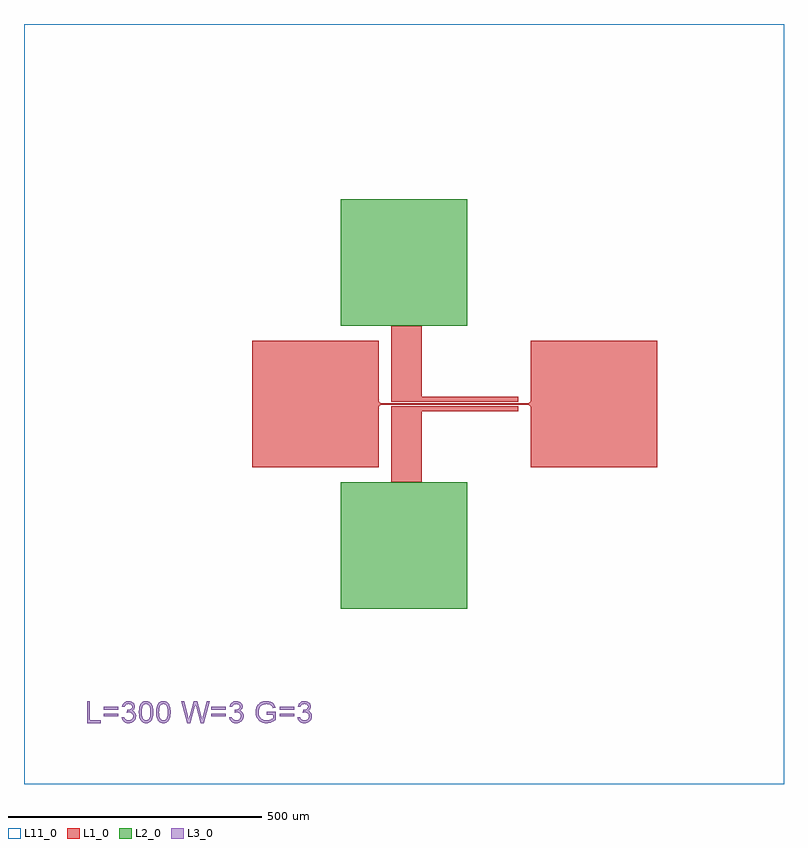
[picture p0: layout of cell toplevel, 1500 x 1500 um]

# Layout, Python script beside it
from phidl import Device
import phidl.geometry as pg


##########################################
# Layers:
# 1 = device silicon / structural geometry
# 2 = optional contact blocks
# 3 = labels
# 11 = optional outline / visualization
##########################################


class EmptyClass:
    pass


def make_fillet_pieces(f_r, layer=1):
    """Create the four inside-corner fillet pieces from the provided template."""
    D1 = pg.circle(radius=f_r, layer=layer).move([f_r, f_r])

    D2 = pg.rectangle(size=[f_r, f_r], layer=layer)
    F_tr = pg.boolean(
        A=D2, B=D1, operation="not", precision=1e-6, num_divisions=[1, 1], layer=layer
    )

    D2 = pg.rectangle(size=[f_r, f_r], layer=layer).move([f_r, 0])
    F_tl = pg.boolean(
        A=D2, B=D1, operation="not", precision=1e-6, num_divisions=[1, 1], layer=layer
    )
    F_tl.move([-2 * f_r, 0])

    D2 = pg.rectangle(size=[f_r, f_r], layer=layer).move([f_r, f_r])
    F_bl = pg.boolean(
        A=D2, B=D1, operation="not", precision=1e-6, num_divisions=[1, 1], layer=layer
    )
    F_bl.move([-2 * f_r, -2 * f_r])

    D2 = pg.rectangle(size=[f_r, f_r], layer=layer).move([0, f_r])
    F_br = pg.boolean(
        A=D2, B=D1, operation="not", precision=1e-6, num_divisions=[1, 1], layer=layer
    )
    F_br.move([0, -2 * f_r])

    return {"tr": F_tr, "tl": F_tl, "bl": F_bl, "br": F_br}


def reference_left_anchor_x(mc, beam_length):
    return mc.center_x - (beam_length / 2 + mc.anchor_width)


def beam_center_x(mc, left_anchor_x, beam_length):
    return left_anchor_x + mc.anchor_width + beam_length / 2


def outline(mc):
    """Optional unit-cell outline for visualization."""
    cell_outline = Device("outline")
    cell_outline << pg.rectangle(size=(mc.unit_width, mc.unit_height), layer=11)
    return cell_outline


def make_anchor(mc):
    anchor = Device("anchor")
    anchor << pg.rectangle(size=(mc.anchor_width, mc.anchor_height), layer=1)
    return anchor


def make_beam(mc, L, W):
    beam = Device("beam")
    beam << pg.rectangle(size=(L, W), layer=1)
    return beam


def make_electrode_contact(mc):
    contact = Device("electrode_contact")
    contact << pg.rectangle(
        size=(mc.contact_width, mc.contact_height),
        layer=2,
    )
    return contact


def make_center_electrode(mc, beam_ref, gap, is_top):
    """Create one centered electrode with a wide active region, thin stem, and contact."""
    electrode = Device("center_electrode")

    max_active_length = beam_ref.xsize - 2 * mc.anchor_clearance
    if max_active_length <= 0:
        raise ValueError("Beam is too short for the requested anchor clearance")

    target_active_length = min(
        mc.electrode_coverage_fraction * beam_ref.xsize,
        beam_ref.xsize + mc.electrode_tip_overhang,
    )
    active_length = min(target_active_length, max_active_length)

    active_center_x = beam_ref.center[0]
    active_x = active_center_x - active_length / 2
    contact_x = mc.fixed_contact_x
    contact_center_x = contact_x + mc.contact_width / 2
    stem_core_width = min(mc.stem_width_max, mc.contact_width, active_length)
    stem_x = active_x
    stem_right = max(contact_center_x + stem_core_width / 2, active_x + stem_core_width)
    stem_width = stem_right - stem_x

    if is_top:
        active_y = beam_ref.ymax + gap
        stem_y = active_y + mc.active_electrode_height
        contact_y = stem_y + mc.stem_length
    else:
        active_y = beam_ref.ymin - gap - mc.active_electrode_height
        contact_y = active_y - mc.stem_length - mc.contact_height
        stem_y = contact_y + mc.contact_height

    electrode << pg.rectangle(
        size=(active_length, mc.active_electrode_height),
        layer=1,
    ).move((active_x, active_y))
    electrode << pg.rectangle(
        size=(stem_width, mc.stem_length),
        layer=1,
    ).move((stem_x, stem_y))
    electrode << make_electrode_contact(mc).move((contact_x, contact_y))

    return electrode


def clamped_clamped_cell(mc, L, W, gap):
    """Build one clamped-clamped beam resonator cell."""
    cell = Device(f"clamped_clamped_L{L}_W{W}_G{gap}")

    if mc.draw_outline:
        cell << outline(mc)

    beam_y = mc.unit_height / 2 - W / 2
    left_anchor_x = mc.fixed_left_anchor_x
    right_anchor_x = mc.center_x + L / 2
    right_anchor_x = left_anchor_x + mc.anchor_width + L
    anchor_y = mc.unit_height / 2 - mc.anchor_height / 2

    left_anchor = cell << make_anchor(mc)
    left_anchor.move((left_anchor_x, anchor_y))

    beam = cell << make_beam(mc, L, W)
    beam.move((left_anchor_x + mc.anchor_width, beam_y))

    fillets = make_fillet_pieces(mc.fillet_radius, layer=1)
    left_jx = left_anchor_x + mc.anchor_width
    right_jx = right_anchor_x

    cell << fillets["tr"].move((left_jx, beam_y + W))
    cell << fillets["br"].move((left_jx, beam_y))
    cell << fillets["tl"].move((right_jx, beam_y + W))
    cell << fillets["bl"].move((right_jx, beam_y))

    right_anchor = cell << make_anchor(mc)
    right_anchor.move((right_anchor_x, anchor_y))

    cell << make_center_electrode(mc, beam, gap=gap, is_top=True)
    cell << make_center_electrode(mc, beam, gap=gap, is_top=False)

    label = cell << pg.text(
        text=f"L={L} W={W} G={gap}",
        size=mc.label_size,
        layer=3,
        font="Arial",
    )
    label.move((mc.label_x, mc.label_y))

    return cell


def build_parameter_object():
    mc = EmptyClass()

    mc.unit_width = 1500
    mc.unit_height = 1500
    mc.center_x = mc.unit_width / 2
    mc.draw_outline = True

    mc.anchor_width = 250
    mc.anchor_height = 250

    mc.contact_width = 250
    mc.contact_height = 250
    mc.stem_width_max = 60
    mc.stem_length = 140
    mc.active_electrode_height = 10
    mc.electrode_coverage_fraction = 0.9
    mc.electrode_tip_overhang = 15
    mc.anchor_clearance = 25
    mc.fillet_radius = 5
    mc.reference_beam_length = 100
    mc.fixed_left_anchor_x = reference_left_anchor_x(mc, mc.reference_beam_length)
    mc.fixed_contact_x = (
        beam_center_x(mc, mc.fixed_left_anchor_x, mc.reference_beam_length)
        - mc.contact_width / 2
    )

    mc.label_size = 55
    mc.label_x = 120
    mc.label_y = 120

    mc.output_gds = "clamped_clamped_cell.gds"

    return mc


def main():
    mc = build_parameter_object()
    cell = clamped_clamped_cell(mc, L=300, W=3, gap=3)
    cell.write_gds(mc.output_gds)
    print(f"Wrote {mc.output_gds}")


if __name__ == "__main__":
    main()
